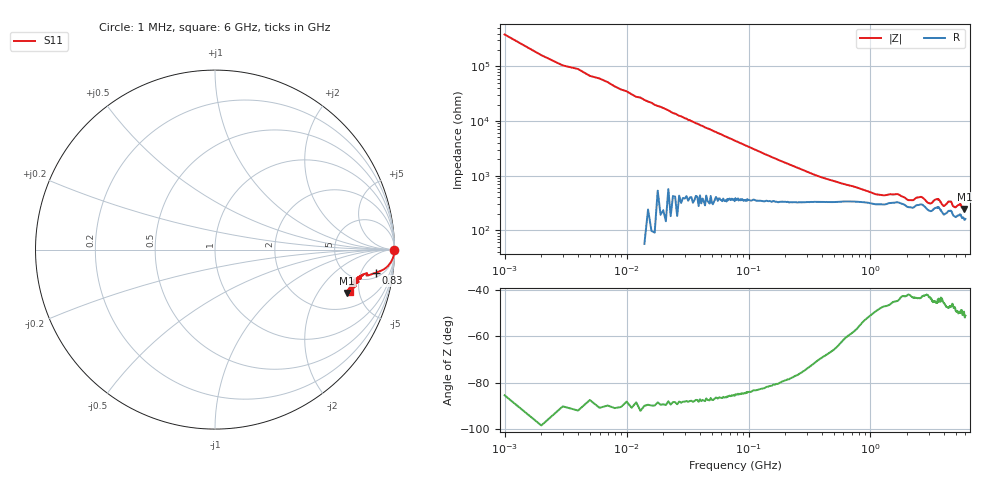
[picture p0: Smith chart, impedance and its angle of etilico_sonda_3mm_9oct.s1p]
! COPPER MOUNTAIN TECHNOLOGIES, R60, 23103002, 24.3.3/3.0
! Date: 9/10/2026 11:51:16
! Data: Format [Calibration Info]
! Frequency		S11: Mag/Ang RO
# HZ S MA R 50
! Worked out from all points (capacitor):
!   1280 points, 1 MHz to 6 GHz, reference 50 ohm
!   read as one part to ground: C = 463 fF near 7 MHz
!   lowest |Z| = 246 ohm at 5.88 GHz (marker M1)
!   S11 on the Smith chart (normalised r, x): 1 MHz: open; 830 MHz: 7, -9; 6 GHz: 3.23, -3.99
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1000000  1 -0.0
3.7e8  0.9664 -5.5
7.55e8  0.9163 -7.8
8.3e8  0.9047 -8.2
1.135e9  0.8647 -9.6
1.505e9  0.8574 -9.0
1.685e9  0.8554 -8.9
2.04e9  0.8126 -10.8
2.255e9  0.8171 -11.0
2.385e9  0.8328 -10.0
2.595e9  0.8376 -9.7
3.005e9  0.7935 -12.6
3.145e9  0.7937 -12.8
3.465e9  0.8281 -11.1
3.625e9  0.8219 -10.9
3.755e9  0.8079 -12.4
3.995e9  0.7792 -15.0
4.34e9  0.819 -12.8
4.505e9  0.8168 -12.6
4.595e9  0.8156 -12.7
4.74e9  0.7835 -15.1
4.92e9  0.7768 -16.2
5.255e9  0.8037 -15.3
5.455e9  0.8106 -14.6
5.6e9  0.7799 -16.6
5.725e9  0.7926 -16.5
5.88e9  0.7756 -18.1
6e9  0.7862 -17.5
